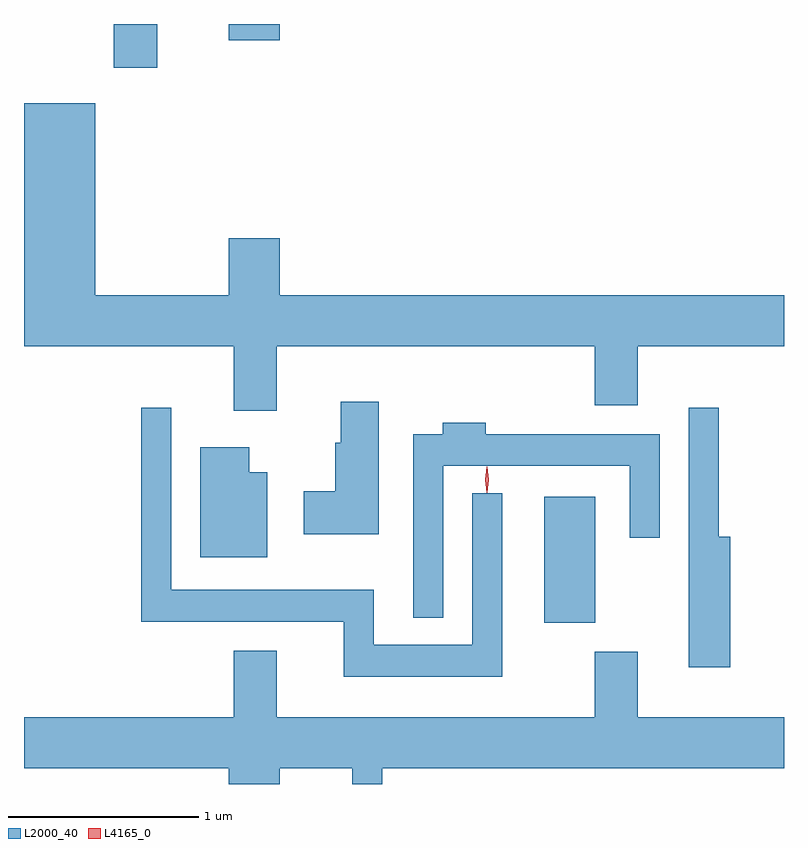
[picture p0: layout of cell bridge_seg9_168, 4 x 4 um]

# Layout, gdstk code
import gdstk
lib = gdstk.Library(unit=1e-6, precision=1e-09)
def R(c, l, rs):  # rectangles x0, y0, x1, y1
    for r in rs: c.add(gdstk.rectangle(r[:2], r[2:], *l))
def P(c, l, *ps):  # polygons
    for p in ps: c.add(gdstk.Polygon(p, *l))
L2000_40 = (2000, 40)
L4165_0 = (4165, 0)

bridge_seg9_168 = lib.new_cell('bridge_seg9_168')
R(bridge_seg9_168, L2000_40, [(1375.576,2070.281,1375.844,2070.944), (1373.311,2073.201,1373.539,2073.432), (1373.916,2073.346,1374.184,2073.432)])
P(bridge_seg9_168, L2000_40, [(1374.169,2071.736),(1375.841,2071.736),(1375.841,2071.426),(1376.069,2071.426),(1376.069,2071.736),(1376.838,2071.736),(1376.838,2072.004),(1374.184,2072.004),(1374.184,2072.304),(1373.916,2072.304),(1373.916,2072.004),(1373.214,2072.004),(1373.214,2073.014),(1372.838,2073.014),(1372.838,2071.736),(1373.941,2071.736),(1373.941,2071.396),(1374.169,2071.396)],
  [(1374.704,2071.444),(1374.506,2071.444),(1374.506,2071.229),(1374.476,2071.229),(1374.476,2070.974),(1374.311,2070.974),(1374.311,2070.746),(1374.704,2070.746)],
  [(1375.354,2070.963),(1375.196,2070.963),(1375.196,2070.164),(1374.679,2070.164),(1374.679,2070.454),(1373.614,2070.454),(1373.614,2071.413),(1373.456,2071.413),(1373.456,2070.286),(1374.521,2070.286),(1374.521,2069.996),(1375.354,2069.996)],
  [(1376.554,2070.734),(1376.494,2070.734),(1376.494,2071.413),(1376.336,2071.413),(1376.336,2070.046),(1376.554,2070.046)],
  [(1375.044,2071.106),(1376.026,2071.106),(1376.026,2070.728),(1376.184,2070.728),(1376.184,2071.274),(1375.269,2071.274),(1375.269,2071.334),(1375.041,2071.334),(1375.041,2071.274),(1374.886,2071.274),(1374.886,2070.308),(1375.044,2070.308)],
  [(1374.119,2071.074),(1374.024,2071.074),(1374.024,2071.204),(1373.766,2071.204),(1373.766,2070.626),(1374.119,2070.626)],
  [(1374.184,2069.516),(1374.566,2069.516),(1374.566,2069.432),(1374.724,2069.432),(1374.724,2069.516),(1376.838,2069.516),(1376.838,2069.784),(1376.069,2069.784),(1376.069,2070.129),(1375.841,2070.129),(1375.841,2069.784),(1374.169,2069.784),(1374.169,2070.134),(1373.941,2070.134),(1373.941,2069.784),(1372.838,2069.784),(1372.838,2069.516),(1373.916,2069.516),(1373.916,2069.432),(1374.184,2069.432)])
P(bridge_seg9_168, L4165_0, [(1375.274,2070.964),(1375.265,2071.033),(1375.274,2071.103),(1375.275,2071.103),(1375.275,2071.103),(1375.285,2071.033),(1375.275,2070.964),(1375.275,2070.964)],
  [(1375.275,2070.967),(1375.274,2070.968),(1375.265,2071.034),(1375.274,2071.1),(1375.275,2071.101),(1375.275,2071.1),(1375.285,2071.034),(1375.275,2070.968)])

lib.write_gds('bridge_seg9_168.gds')
